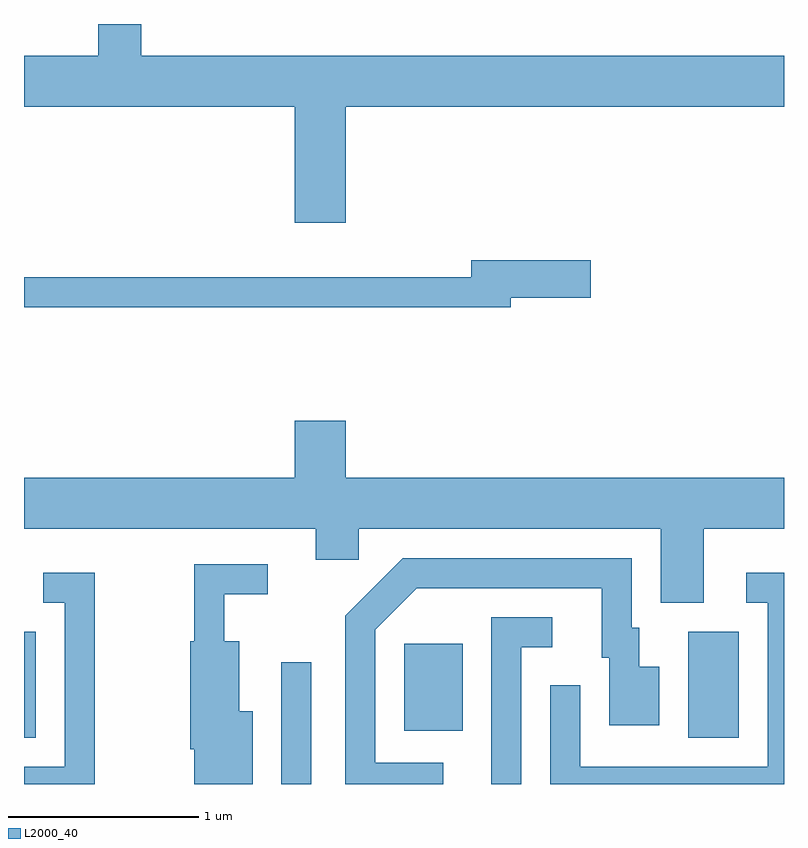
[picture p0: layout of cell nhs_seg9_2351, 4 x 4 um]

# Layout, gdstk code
import gdstk
lib = gdstk.Library(unit=1e-6, precision=1e-09)
def R(c, l, rs):  # rectangles x0, y0, x1, y1
    for r in rs: c.add(gdstk.rectangle(r[:2], r[2:], *l))
def P(c, l, *ps):  # polygons
    for p in ps: c.add(gdstk.Polygon(p, *l))
L2000_40 = (2000, 40)

nhs_seg9_2351 = lib.new_cell('nhs_seg9_2351')
R(nhs_seg9_2351, L2000_40, [(254.966,2030.432,255.124,2031.073), (253.611,2030.676,253.674,2031.234), (257.106,2030.676,257.374,2031.234), (255.611,2030.711,255.919,2031.169)])
P(nhs_seg9_2351, L2000_40, [(254.229,2034.432),(254.001,2034.432),(254.001,2034.264),(253.611,2034.264),(253.611,2033.996),(255.036,2033.996),(255.036,2033.386),(255.304,2033.386),(255.304,2033.996),(257.611,2033.996),(257.611,2034.264),(254.229,2034.264)],
  [(256.174,2032.991),(256.594,2032.991),(256.594,2033.189),(255.966,2033.189),(255.966,2033.099),(253.611,2033.099),(253.611,2032.941),(256.174,2032.941)],
  [(257.189,2031.776),(257.611,2031.776),(257.611,2032.044),(255.304,2032.044),(255.304,2032.344),(255.036,2032.344),(255.036,2032.044),(253.611,2032.044),(253.611,2031.776),(255.146,2031.776),(255.146,2031.611),(255.374,2031.611),(255.374,2031.776),(256.961,2031.776),(256.961,2031.386),(257.189,2031.386)],
  [(255.818,2030.544),(255.459,2030.544),(255.459,2031.244),(255.677,2031.461),(256.651,2031.461),(256.651,2031.096),(256.691,2031.096),(256.691,2030.741),(256.954,2030.741),(256.954,2031.049),(256.849,2031.049),(256.849,2031.254),(256.809,2031.254),(256.809,2031.619),(255.604,2031.619),(255.301,2031.317),(255.301,2030.432),(255.818,2030.432)],
  [(254.814,2030.814),(254.744,2030.814),(254.744,2031.184),(254.664,2031.184),(254.664,2031.431),(254.893,2031.431),(254.893,2031.589),(254.506,2031.589),(254.506,2031.184),(254.486,2031.184),(254.486,2030.616),(254.506,2030.616),(254.506,2030.432),(254.814,2030.432)],
  [(257.611,2031.544),(257.413,2031.544),(257.413,2031.386),(257.526,2031.386),(257.526,2030.524),(256.539,2030.524),(256.539,2030.953),(256.381,2030.953),(256.381,2030.432),(257.611,2030.432)],
  [(253.984,2031.544),(253.713,2031.544),(253.713,2031.386),(253.826,2031.386),(253.826,2030.524),(253.611,2030.524),(253.611,2030.432),(253.984,2030.432)],
  [(256.229,2031.151),(256.392,2031.151),(256.392,2031.309),(256.071,2031.309),(256.071,2030.432),(256.229,2030.432)])

lib.write_gds('nhs_seg9_2351.gds')
